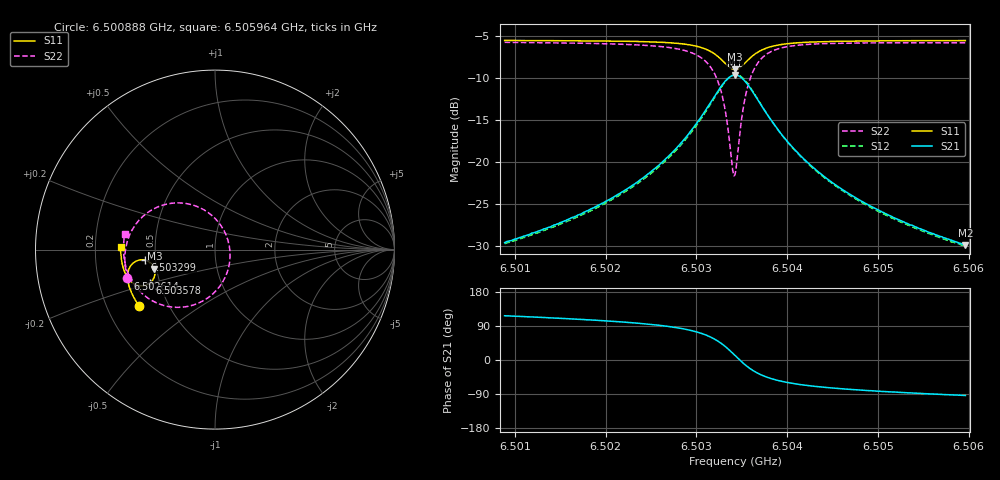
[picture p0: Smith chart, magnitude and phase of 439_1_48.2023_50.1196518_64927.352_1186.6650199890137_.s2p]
#  HZ  S  RI  R  50.00
! Rohde & Schwarz Vector Network Analyzer
! Rohde-Schwarz,ZNB20-2Port,1311601062101988,3.16
! Created: UTC 3/20/2024, 11:55:45 AM
! freq[Hz]  re:S11  im:S11  re:S21  im:S21  re:S12  im:S12  re:S22  im:S22
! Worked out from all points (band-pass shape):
!   401 points, 6.500888 GHz to 6.505964 GHz, reference 50 ohm
!   highest |S21| = -9.68 dB at 6.503426 GHz (marker M1); lowest = -29.9 dB at 6.505964 GHz (marker M2)
!   |S21| within 3 dB of the highest: 6.503173 GHz to 6.50368 GHz (507.8 kHz wide, 0.00781 % of centre)
!   lowest |S11| = -9.0 dB at 6.503426 GHz (marker M3), VSWR 2.10, Z = 24.3 - j5.94 ohm
!   |S11| at or under -10 dB: nowhere
!   |S22| runs from -21.7 to -5.8 dB; largest |S21 - S12| = 0.012
!   S11 on the Smith chart (normalised r, x): 6.500888 GHz: 0.34, -0.29; 6.502614 GHz: 0.33, -0.15; 6.503299 GHz: 0.44, -0.06; 6.503578 GHz: 0.44, -0.20; 6.505964 GHz: 0.31, +0.01
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6.5008876e9  -0.4237 -0.3125  -0.0149 0.0295  -0.0132 0.0298  -0.4875 -0.1607
6.5017379e9  -0.4607 -0.2502  -0.0144 0.0471  -0.0119 0.0468  -0.5017 -0.0712
6.5022075e9  -0.4774 -0.2087  -0.0115 0.0665  -0.00849 0.0655  -0.4994 -0.00528
6.5025883e9  -0.4866 -0.1672  -0.00277 0.0955  0.000966 0.0935  -0.4807 0.0698
6.5026137e9  -0.4868 -0.1639  -0.00143 0.0984  0.00217 0.096  -0.4782 0.0761
6.5029056e9  -0.4834 -0.1193  0.0254 0.1421  0.0291 0.1375  -0.4223 0.1648
6.5030959e9  -0.4623 -0.0814  0.0789 0.1839  0.0814 0.1778  -0.3199 0.2373
6.5032102e9  -0.4299 -0.0605  0.1473 0.2017  0.1483 0.1954  -0.1966 0.2602
6.503299e9  -0.3899 -0.0586  0.2266 0.186  0.2269 0.1809  -0.0603 0.2209
6.5033371e9  -0.3706 -0.0661  0.2627 0.1632  0.2636 0.1586  -0.000247 0.1743
6.5034006e9  -0.3439 -0.0925  0.3107 0.0999  0.3132 0.0948  0.072 0.0524
6.5034259e9  -0.3374 -0.107  0.3209 0.0677  0.3243 0.0618  0.0833 -0.00712
6.5034513e9  -0.3344 -0.1227  0.3247 0.0341  0.3281 0.027  0.0816 -0.0685
6.5035148e9  -0.3414 -0.16  0.3069 -0.0436  0.3091 -0.0538  0.027 -0.2037
6.5035782e9  -0.3625 -0.1858  0.2643 -0.0978  0.2633 -0.1093  -0.0693 -0.2869
6.5036798e9  -0.4019 -0.2012  0.1898 -0.1342  0.1844 -0.1437  -0.2188 -0.3215
6.5038448e9  -0.4481 -0.1915  0.1084 -0.1313  0.1014 -0.1365  -0.3657 -0.2754
6.5040224e9  -0.4754 -0.1703  0.0639 -0.1114  0.0576 -0.1137  -0.4378 -0.2107
6.5042763e9  -0.4961 -0.1403  0.0339 -0.0872  0.0291 -0.0877  -0.4813 -0.1388
6.5046824e9  -0.5125 -0.0982  0.0141 -0.063  0.0109 -0.0627  -0.5044 -0.06
6.5051266e9  -0.5211 -0.0573  0.00514 -0.0477  0.00275 -0.0471  -0.51 0.00166
6.5059643e9  -0.526 0.0132  -0.00202 -0.032  -0.00332 -0.0313  -0.5022 0.0896
